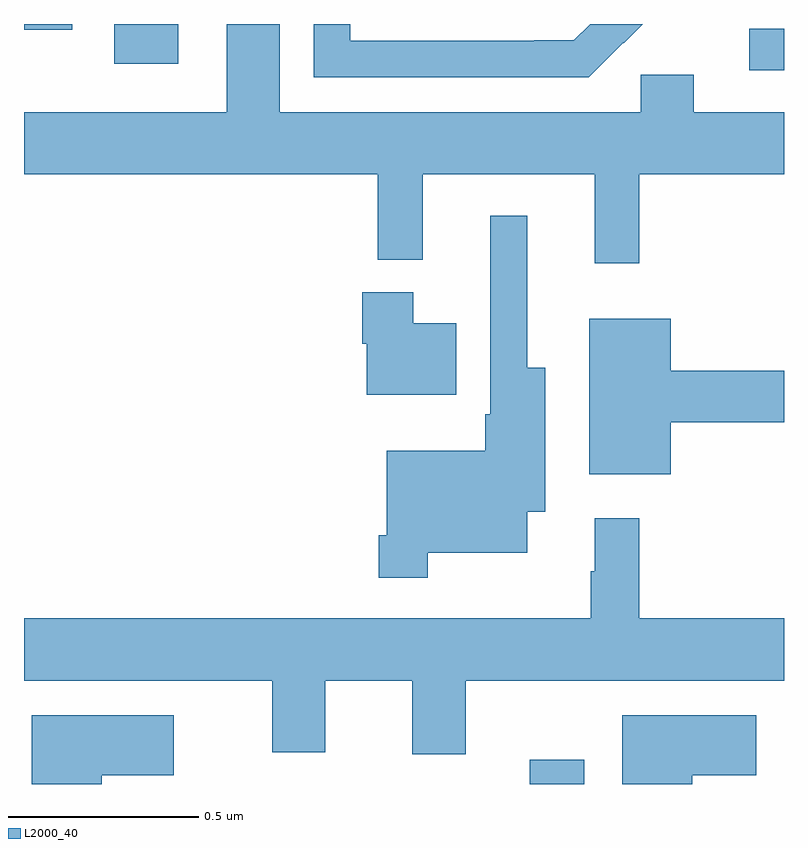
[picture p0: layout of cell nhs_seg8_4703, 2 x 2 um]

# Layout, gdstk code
import gdstk
lib = gdstk.Library(unit=1e-6, precision=1e-09)
def R(c, l, rs):  # rectangles x0, y0, x1, y1
    for r in rs: c.add(gdstk.rectangle(r[:2], r[2:], *l))
def P(c, l, *ps):  # polygons
    for p in ps: c.add(gdstk.Polygon(p, *l))
L2000_40 = (2000, 40)

nhs_seg8_4703 = lib.new_cell('nhs_seg8_4703')
R(nhs_seg8_4703, L2000_40, [(175.331,1110.9,175.474,1110.964), (175.908,1112.778,176,1112.887), (174.237,1112.796,174.406,1112.9), (174,1112.885,174.127,1112.9)])
P(nhs_seg8_4703, L2000_40, [(175.619,1112.504),(176,1112.504),(176,1112.668),(175.762,1112.668),(175.762,1112.766),(175.623,1112.766),(175.623,1112.668),(174.673,1112.668),(174.673,1112.9),(174.533,1112.9),(174.533,1112.668),(174,1112.668),(174,1112.504),(174.931,1112.504),(174.931,1112.279),(175.049,1112.279),(175.049,1112.504),(175.502,1112.504),(175.502,1112.271),(175.619,1112.271)],
  [(175.577,1112.851),(175.578,1112.85),(175.628,1112.9),(175.49,1112.9),(175.447,1112.857),(175.343,1112.857),(175.343,1112.856),(174.859,1112.856),(174.859,1112.9),(174.762,1112.9),(174.762,1112.76),(175.486,1112.76)],
  [(175.063,1111.508),(175.324,1111.508),(175.324,1111.616),(175.372,1111.616),(175.372,1111.996),(175.324,1111.996),(175.324,1112.395),(175.227,1112.395),(175.227,1111.873),(175.214,1111.873),(175.214,1111.777),(174.954,1111.777),(174.954,1111.555),(174.934,1111.555),(174.934,1111.443),(175.063,1111.443)],
  [(175.138,1112.113),(175.024,1112.113),(175.024,1112.194),(174.89,1112.194),(174.89,1112.058),(174.902,1112.058),(174.902,1111.925),(175.138,1111.925)],
  [(175.702,1111.852),(176,1111.852),(176,1111.988),(175.702,1111.988),(175.702,1112.125),(175.487,1112.125),(175.487,1111.715),(175.702,1111.715)],
  [(175.162,1111.172),(176,1111.172),(176,1111.336),(175.619,1111.336),(175.619,1111.6),(175.502,1111.6),(175.502,1111.46),(175.491,1111.46),(175.491,1111.336),(174,1111.336),(174,1111.172),(174.653,1111.172),(174.653,1110.983),(174.793,1110.983),(174.793,1111.172),(175.022,1111.172),(175.022,1110.978),(175.162,1110.978)],
  [(175.759,1110.923),(175.927,1110.923),(175.927,1111.081),(175.574,1111.081),(175.574,1110.9),(175.759,1110.9)],
  [(174.205,1110.923),(174.394,1110.923),(174.394,1111.081),(174.02,1111.081),(174.02,1110.9),(174.205,1110.9)])

lib.write_gds('nhs_seg8_4703.gds')
